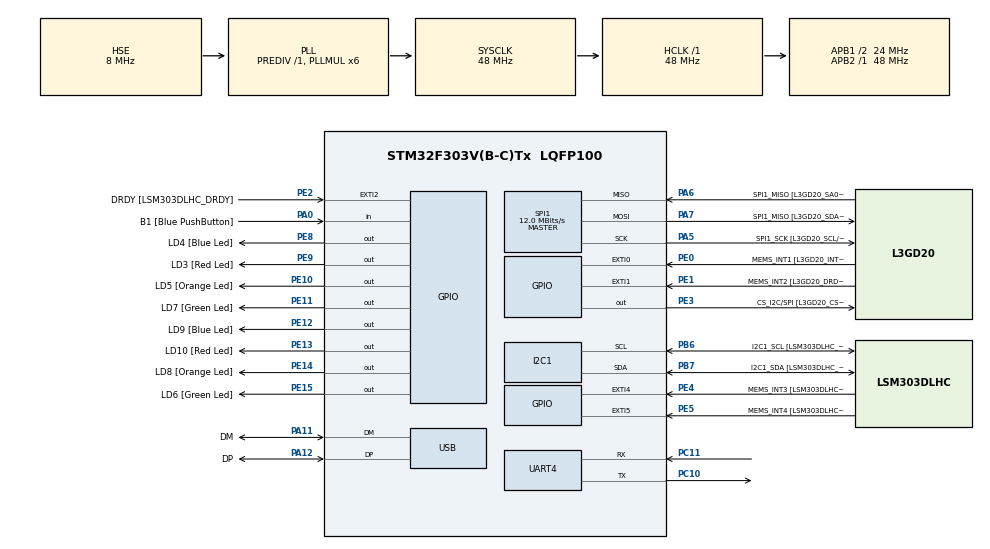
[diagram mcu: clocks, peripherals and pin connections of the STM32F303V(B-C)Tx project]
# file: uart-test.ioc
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I2C1.Timing=0x2000090E
I2C1.Timing-I2C=0x2000090E
Mcu.Family=STM32F3
Mcu.Name=STM32F303V(B-C)Tx
Mcu.Package=LQFP100
NVIC.PriorityGroup=NVIC_PRIORITYGROUP_0
NVIC.UART4_IRQn=true\:0\:0\:false\:false\:true\:true\:true\:true
PA0.GPIO_Label=B1 [Blue PushButton]
PA0.Signal=GPIO_Input
PA11.GPIO_Label=DM
PA11.Mode=Device
PA11.Signal=USB_DM
PA12.GPIO_Label=DP
PA12.Mode=Device
PA12.Signal=USB_DP
PA13.GPIO_Label=SWDIO
PA13.Mode=Serial_Wire
PA13.Signal=SYS_JTMS-SWDIO
PA14.GPIO_Label=SWCLK
PA14.Mode=Serial_Wire
PA14.Signal=SYS_JTCK-SWCLK
PA5.GPIO_Label=SPI1_SCK [L3GD20_SCL/SPC]
PA5.Mode=Full_Duplex_Master
PA5.Signal=SPI1_SCK
PA6.GPIO_Label=SPI1_MISO [L3GD20_SA0/SDO]
PA6.Mode=Full_Duplex_Master
PA6.Signal=SPI1_MISO
PA7.GPIO_Label=SPI1_MISO [L3GD20_SDA/SDI/SDO]
PA7.Mode=Full_Duplex_Master
PA7.Signal=SPI1_MOSI
PB3.GPIO_Label=SWO
PB3.Signal=SYS_JTDO-TRACESWO
PB6.GPIO_Label=I2C1_SCL [LSM303DLHC_SCL]
PB6.GPIO_Pu=GPIO_PULLUP
PB6.Mode=I2C
PB6.Signal=I2C1_SCL
PB7.GPIO_Label=I2C1_SDA [LSM303DLHC_SDA]
PB7.GPIO_Pu=GPIO_PULLUP
PB7.Mode=I2C
PB7.Signal=I2C1_SDA
PC10.Mode=Asynchronous
PC10.Signal=UART4_TX
PC11.Mode=Asynchronous
PC11.Signal=UART4_RX
PC14-OSC32_IN.GPIO_Label=OSC32_IN
PC14-OSC32_IN.Signal=RCC_OSC32_IN
PC15-OSC32_OUT.GPIO_Label=OSC32_OUT
PC15-OSC32_OUT.Signal=RCC_OSC32_OUT
PE0.GPIO_Label=MEMS_INT1 [L3GD20_INT1]
PE0.GPIO_ModeDefaultEXTI=GPIO_MODE_EVT_RISING
PE0.Signal=GPXTI0
PE1.GPIO_Label=MEMS_INT2 [L3GD20_DRDY/INT2]
PE1.GPIO_ModeDefaultEXTI=GPIO_MODE_EVT_RISING
PE1.Signal=GPXTI1
PE10.GPIO_Label=LD5 [Orange Led]
PE10.Signal=GPIO_Output
PE11.GPIO_Label=LD7 [Green Led]
PE11.Signal=GPIO_Output
PE12.GPIO_Label=LD9 [Blue Led]
PE12.Signal=GPIO_Output
PE13.GPIO_Label=LD10 [Red Led]
PE13.Signal=GPIO_Output
PE14.GPIO_Label=LD8 [Orange Led]
PE14.Signal=GPIO_Output
PE15.GPIO_Label=LD6 [Green Led]
PE15.Signal=GPIO_Output
PE2.GPIO_Label=DRDY [LSM303DLHC_DRDY]
PE2.GPIO_ModeDefaultEXTI=GPIO_MODE_EVT_RISING
PE2.Signal=GPXTI2
PE3.GPIO_Label=CS_I2C/SPI [L3GD20_CS_I2C/SPI]
PE3.Signal=GPIO_Output
PE4.GPIO_Label=MEMS_INT3 [LSM303DLHC_INT1]
PE4.GPIO_ModeDefaultEXTI=GPIO_MODE_EVT_RISING
PE4.Signal=GPXTI4
PE5.GPIO_Label=MEMS_INT4 [LSM303DLHC_INT2]
PE5.GPIO_ModeDefaultEXTI=GPIO_MODE_EVT_RISING
PE5.Signal=GPXTI5
PE8.GPIO_Label=LD4 [Blue Led]
PE8.Signal=GPIO_Output
PE9.GPIO_Label=LD3 [Red Led]
PE9.Signal=GPIO_Output
PF0-OSC_IN.GPIO_Label=OSC_IN
PF0-OSC_IN.Mode=HSE-External-Clock-Source
PF0-OSC_IN.Signal=RCC_OSC_IN
PF1-OSC_OUT.GPIO_Label=OSC_OUT
PF1-OSC_OUT.Signal=RCC_OSC_OUT
ProjectManager.HeapSize=0x3000
ProjectManager.StackSize=0x1000
ProjectManager.TargetToolchain=STM32CubeIDE
RCC.AHBFreq_Value=48000000
RCC.APB1CLKDivider=RCC_HCLK_DIV2
RCC.APB1Freq_Value=24000000
RCC.APB1TimFreq_Value=48000000
RCC.APB2Freq_Value=48000000
RCC.APB2TimFreq_Value=48000000
RCC.CortexFreq_Value=48000000
RCC.HCLKFreq_Value=48000000
RCC.HSE_VALUE=8000000
RCC.HSI_VALUE=8000000
RCC.LSE_VALUE=32768
RCC.PLLMUL=RCC_PLL_MUL6
RCC.SYSCLKFreq_VALUE=48000000
RCC.SYSCLKSourceVirtual=RCC_SYSCLKSOURCE_PLLCLK
RCC.USBFreq_Value=48000000
SPI1.BaudRatePrescaler=SPI_BAUDRATEPRESCALER_4
SPI1.BaudRatePrescaler-Full_Duplex_Master=SPI_BAUDRATEPRESCALER_2
SPI1.CalculateBaudRate=12.0 MBits/s
SPI1.CalculateBaudRate-Full_Duplex_Master=24.0 MBits/s
SPI1.Direction=SPI_DIRECTION_2LINES
SPI1.Mode=SPI_MODE_MASTER
SPI1.Mode-Full_Duplex_Master=SPI_MODE_MASTER
SPI1.VirtualType=VM_MASTER
UART4.OverrunDisableParam=UART_ADVFEATURE_OVERRUN_DISABLE
board=STM32F3DISCOVERY

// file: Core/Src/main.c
/* USER CODE BEGIN Header */
/**
  ******************************************************************************
  * @file           : main.c
  * @brief          : Main program body
  ******************************************************************************
  * @attention
  *
  * Copyright (c) 2023 STMicroelectronics.
  * All rights reserved.
  *
  * This software is licensed under terms that can be found in the LICENSE file
  * in the root directory of this software component.
  * If no LICENSE file comes with this software, it is provided AS-IS.
  *
  ******************************************************************************
  */
/* USER CODE END Header */
#include "main.h"

/* Private includes -------------------------------------
---------------------*/
/* USER CODE BEGIN Includes */
#include <string.h>
#include <stdio.h>
#include <ctype.h>
/* USER CODE END Includes */

I2C_HandleTypeDef hi2c1;

SPI_HandleTypeDef hspi1;

UART_HandleTypeDef huart4;

PCD_HandleTypeDef hpcd_USB_FS;

void SystemClock_Config(void);
static void MX_GPIO_Init(void);
static void MX_I2C1_Init(void);
static void MX_SPI1_Init(void);
static void MX_USB_PCD_Init(void);
static void MX_UART4_Init(void);

/* USER CODE BEGIN 0 */
// define global variable
input_buf_t project_input_buf;
/**
 * Initialize input_line_buf_t object.
 */
int input_buf_init(input_buf_t *input_buf, UART_HandleTypeDef *huart) {
	 memset((void*) input_buf->buf, 0, INPUT_BUF_SIZE);
	 input_buf->pos = 0;
	 input_buf->huart = huart;
	 // enable interrupt
	 __HAL_UART_ENABLE_IT(&huart4, UART_IT_RXNE);
	 return 0;
}
/**
 * Read current content of the buffer.
 */
int input_buf_read_content(input_buf_t *input_buf, char *output) {
	 int pos = input_buf->pos;
	 // copy data to `output` buffer
	 for (int i = 0; i < INPUT_BUF_SIZE; i++) {
	 output[i] = input_buf->buf[pos];
	 pos++;
	 if (pos >= INPUT_BUF_SIZE) {
	 pos = 0;
	 }
	 }
	 return INPUT_BUF_SIZE;
}
/**
 * Process UART interruption.
 */
int input_buf_process_rxne_it(input_buf_t *input_buf) {
	 // ignore interrupt if it isn't related with received data
	 if (!__HAL_UART_GET_FLAG(input_buf->huart, UART_FLAG_RXNE)) {
	 return 0;
	 }
	 // process received data
	 char sym = input_buf->huart->Instance->RDR;
	 // save symbol into buffer
	 size_t pos = input_buf->pos;
	 input_buf->buf[pos] = sym;
	 pos++;
	 if (pos >= INPUT_BUF_SIZE) {
	 pos = 0;
	 }
	 input_buf->pos = pos;
	 return 0;
}
/* USER CODE END 0 */

int main(void)
{

  /* MCU Configuration--------------------------------------------------------*/

  /* Reset of all peripherals, Initializes the Flash interface and the Systick. */
  HAL_Init();

  /* Configure the system clock */
  SystemClock_Config();

  /* Initialize all configured peripherals */
  MX_GPIO_Init();
  MX_I2C1_Init();
  MX_SPI1_Init();
  MX_USB_PCD_Init();
  MX_UART4_Init();
  /* USER CODE BEGIN 2 */
   input_buf_init(&project_input_buf, &huart4);
   char buf[INPUT_BUF_SIZE + 1];
   char output_buf[INPUT_BUF_SIZE + 32];
   int size;
   int offset;
   char sym;
   /* USER CODE END 2 */
   /* Infinite loop */
   /* USER CODE BEGIN WHILE */
   while (1) {
	   // read input buffer content
	   size = input_buf_read_content(&project_input_buf, buf);
	   // prepare content for "echo"
	   strcpy(output_buf, "input buf: \"");
	   offset = strlen(output_buf);
	   for (int i = 0; i < size; i++) {
	   sym = buf[i];
	   // replace non printable symbols except spaces with dash
	   if (!(sym == ' ' || isgraph(sym))) {
		   sym = '-';
	   }
	   	   output_buf[offset + i] = sym;
	   }
	   offset += size;
	   strcpy(output_buf + offset, "\"\n");
	   // show echo
	   HAL_UART_Transmit(&huart4, (uint8_t*) output_buf, strlen(output_buf), HAL_MAX_DELAY);
	   //HAL_GPIO_TogglePin(GPIOE, 0xFF00);
	   HAL_Delay(1000);
	   /* USER CODE END WHILE */
   }
}

void SystemClock_Config(void)
{
  RCC_OscInitTypeDef RCC_OscInitStruct = {0};
  RCC_ClkInitTypeDef RCC_ClkInitStruct = {0};
  RCC_PeriphCLKInitTypeDef PeriphClkInit = {0};

  /** Initializes the RCC Oscillators according to the specified parameters
  * in the RCC_OscInitTypeDef structure.
  */
  RCC_OscInitStruct.OscillatorType = RCC_OSCILLATORTYPE_HSI|RCC_OSCILLATORTYPE_HSE;
  RCC_OscInitStruct.HSEState = RCC_HSE_BYPASS;
  RCC_OscInitStruct.HSEPredivValue = RCC_HSE_PREDIV_DIV1;
  RCC_OscInitStruct.HSIState = RCC_HSI_ON;
  RCC_OscInitStruct.HSICalibrationValue = RCC_HSICALIBRATION_DEFAULT;
  RCC_OscInitStruct.PLL.PLLState = RCC_PLL_ON;
  RCC_OscInitStruct.PLL.PLLSource = RCC_PLLSOURCE_HSE;
  RCC_OscInitStruct.PLL.PLLMUL = RCC_PLL_MUL6;
  if (HAL_RCC_OscConfig(&RCC_OscInitStruct) != HAL_OK)
  {
    Error_Handler();
  }

  /** Initializes the CPU, AHB and APB buses clocks
  */
  RCC_ClkInitStruct.ClockType = RCC_CLOCKTYPE_HCLK|RCC_CLOCKTYPE_SYSCLK
                              |RCC_CLOCKTYPE_PCLK1|RCC_CLOCKTYPE_PCLK2;
  RCC_ClkInitStruct.SYSCLKSource = RCC_SYSCLKSOURCE_PLLCLK;
  RCC_ClkInitStruct.AHBCLKDivider = RCC_SYSCLK_DIV1;
  RCC_ClkInitStruct.APB1CLKDivider = RCC_HCLK_DIV2;
  RCC_ClkInitStruct.APB2CLKDivider = RCC_HCLK_DIV1;

  if (HAL_RCC_ClockConfig(&RCC_ClkInitStruct, FLASH_LATENCY_1) != HAL_OK)
  {
    Error_Handler();
  }
  PeriphClkInit.PeriphClockSelection = RCC_PERIPHCLK_USB|RCC_PERIPHCLK_UART4
                              |RCC_PERIPHCLK_I2C1;
  PeriphClkInit.Uart4ClockSelection = RCC_UART4CLKSOURCE_PCLK1;
  PeriphClkInit.I2c1ClockSelection = RCC_I2C1CLKSOURCE_HSI;
  PeriphClkInit.USBClockSelection = RCC_USBCLKSOURCE_PLL;
  if (HAL_RCCEx_PeriphCLKConfig(&PeriphClkInit) != HAL_OK)
  {
    Error_Handler();
  }
}

static void MX_I2C1_Init(void)
{

  hi2c1.Instance = I2C1;
  hi2c1.Init.Timing = 0x2000090E;
  hi2c1.Init.OwnAddress1 = 0;
  hi2c1.Init.AddressingMode = I2C_ADDRESSINGMODE_7BIT;
  hi2c1.Init.DualAddressMode = I2C_DUALADDRESS_DISABLE;
  hi2c1.Init.OwnAddress2 = 0;
  hi2c1.Init.OwnAddress2Masks = I2C_OA2_NOMASK;
  hi2c1.Init.GeneralCallMode = I2C_GENERALCALL_DISABLE;
  hi2c1.Init.NoStretchMode = I2C_NOSTRETCH_DISABLE;
  if (HAL_I2C_Init(&hi2c1) != HAL_OK)
  {
    Error_Handler();
  }

  /** Configure Analogue filter
  */
  if (HAL_I2CEx_ConfigAnalogFilter(&hi2c1, I2C_ANALOGFILTER_ENABLE) != HAL_OK)
  {
    Error_Handler();
  }

  /** Configure Digital filter
  */
  if (HAL_I2CEx_ConfigDigitalFilter(&hi2c1, 0) != HAL_OK)
  {
    Error_Handler();
  }

}

static void MX_SPI1_Init(void)
{

  /* SPI1 parameter configuration*/
  hspi1.Instance = SPI1;
  hspi1.Init.Mode = SPI_MODE_MASTER;
  hspi1.Init.Direction = SPI_DIRECTION_2LINES;
  hspi1.Init.DataSize = SPI_DATASIZE_4BIT;
  hspi1.Init.CLKPolarity = SPI_POLARITY_LOW;
  hspi1.Init.CLKPhase = SPI_PHASE_1EDGE;
  hspi1.Init.NSS = SPI_NSS_SOFT;
  hspi1.Init.BaudRatePrescaler = SPI_BAUDRATEPRESCALER_4;
  hspi1.Init.FirstBit = SPI_FIRSTBIT_MSB;
  hspi1.Init.TIMode = SPI_TIMODE_DISABLE;
  hspi1.Init.CRCCalculation = SPI_CRCCALCULATION_DISABLE;
  hspi1.Init.CRCPolynomial = 7;
  hspi1.Init.CRCLength = SPI_CRC_LENGTH_DATASIZE;
  hspi1.Init.NSSPMode = SPI_NSS_PULSE_ENABLE;
  if (HAL_SPI_Init(&hspi1) != HAL_OK)
  {
    Error_Handler();
  }

}

static void MX_UART4_Init(void)
{

  huart4.Instance = UART4;
  huart4.Init.BaudRate = 115200;
  huart4.Init.WordLength = UART_WORDLENGTH_8B;
  huart4.Init.StopBits = UART_STOPBITS_1;
  huart4.Init.Parity = UART_PARITY_NONE;
  huart4.Init.Mode = UART_MODE_TX_RX;
  huart4.Init.HwFlowCtl = UART_HWCONTROL_NONE;
  huart4.Init.OverSampling = UART_OVERSAMPLING_16;
  huart4.Init.OneBitSampling = UART_ONE_BIT_SAMPLE_DISABLE;
  huart4.AdvancedInit.AdvFeatureInit = UART_ADVFEATURE_RXOVERRUNDISABLE_INIT;
  huart4.AdvancedInit.OverrunDisable = UART_ADVFEATURE_OVERRUN_DISABLE;
  if (HAL_UART_Init(&huart4) != HAL_OK)
  {
    Error_Handler();
  }

}

static void MX_USB_PCD_Init(void)
{

  hpcd_USB_FS.Instance = USB;
  hpcd_USB_FS.Init.dev_endpoints = 8;
  hpcd_USB_FS.Init.speed = PCD_SPEED_FULL;
  hpcd_USB_FS.Init.phy_itface = PCD_PHY_EMBEDDED;
  hpcd_USB_FS.Init.low_power_enable = DISABLE;
  hpcd_USB_FS.Init.battery_charging_enable = DISABLE;
  if (HAL_PCD_Init(&hpcd_USB_FS) != HAL_OK)
  {
    Error_Handler();
  }

}

static void MX_GPIO_Init(void)
{
  GPIO_InitTypeDef GPIO_InitStruct = {0};

  /* GPIO Ports Clock Enable */
  __HAL_RCC_GPIOE_CLK_ENABLE();
  __HAL_RCC_GPIOC_CLK_ENABLE();
  __HAL_RCC_GPIOF_CLK_ENABLE();
  __HAL_RCC_GPIOA_CLK_ENABLE();
  __HAL_RCC_GPIOB_CLK_ENABLE();

  /*Configure GPIO pin Output Level */
  HAL_GPIO_WritePin(GPIOE, CS_I2C_SPI_Pin|LD4_Pin|LD3_Pin|LD5_Pin
                          |LD7_Pin|LD9_Pin|LD10_Pin|LD8_Pin
                          |LD6_Pin, GPIO_PIN_RESET);

  /*Configure GPIO pins : DRDY_Pin MEMS_INT3_Pin MEMS_INT4_Pin MEMS_INT1_Pin
                           MEMS_INT2_Pin */
  GPIO_InitStruct.Pin = DRDY_Pin|MEMS_INT3_Pin|MEMS_INT4_Pin|MEMS_INT1_Pin
                          |MEMS_INT2_Pin;
  GPIO_InitStruct.Mode = GPIO_MODE_EVT_RISING;
  GPIO_InitStruct.Pull = GPIO_NOPULL;
  HAL_GPIO_Init(GPIOE, &GPIO_InitStruct);

  /*Configure GPIO pins : CS_I2C_SPI_Pin LD4_Pin LD3_Pin LD5_Pin
                           LD7_Pin LD9_Pin LD10_Pin LD8_Pin
                           LD6_Pin */
  GPIO_InitStruct.Pin = CS_I2C_SPI_Pin|LD4_Pin|LD3_Pin|LD5_Pin
                          |LD7_Pin|LD9_Pin|LD10_Pin|LD8_Pin
                          |LD6_Pin;
  GPIO_InitStruct.Mode = GPIO_MODE_OUTPUT_PP;
  GPIO_InitStruct.Pull = GPIO_NOPULL;
  GPIO_InitStruct.Speed = GPIO_SPEED_FREQ_LOW;
  HAL_GPIO_Init(GPIOE, &GPIO_InitStruct);

  /*Configure GPIO pin : B1_Pin */
  GPIO_InitStruct.Pin = B1_Pin;
  GPIO_InitStruct.Mode = GPIO_MODE_INPUT;
  GPIO_InitStruct.Pull = GPIO_NOPULL;
  HAL_GPIO_Init(B1_GPIO_Port, &GPIO_InitStruct);

}

void Error_Handler(void)
{
  __disable_irq();
  while (1)
  {
  }
}
